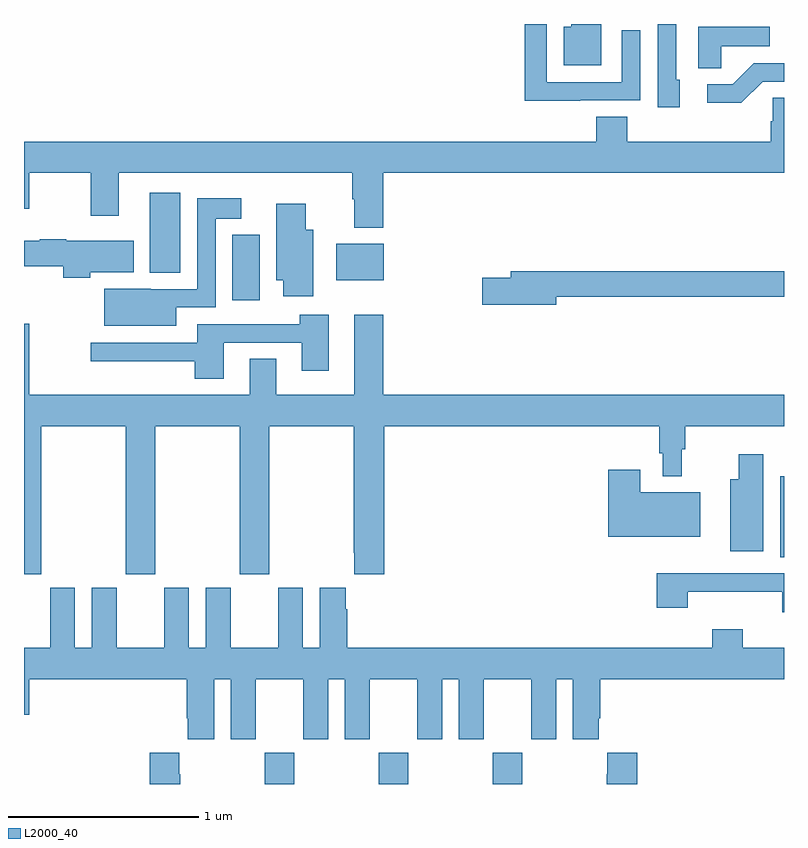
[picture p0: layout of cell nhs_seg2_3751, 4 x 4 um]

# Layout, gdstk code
import gdstk
lib = gdstk.Library(unit=1e-6, precision=1e-09)
def R(c, l, rs):  # rectangles x0, y0, x1, y1
    for r in rs: c.add(gdstk.rectangle(r[:2], r[2:], *l))
def A(c, l, x, y, w, h, nx, ny, dx, dy):  # array of equal rectangles
    R(c, l, [(x+i*dx, y+j*dy, x+i*dx+w, y+j*dy+h) for i in range(nx) for j in range(ny)])
def P(c, l, *ps):  # polygons
    for p in ps: c.add(gdstk.Polygon(p, *l))
L2000_40 = (2000, 40)

nhs_seg2_3751 = lib.new_cell('nhs_seg2_3751')
A(nhs_seg2_3751, L2000_40, 310.267, 597.8, 0.155, 0.164, 3, 1, 0.6, 0)
R(nhs_seg2_3751, L2000_40, [(312.98,598.993,313,599.419), (310.097,600.345,310.24,600.691), (310.643,600.452,310.894,600.643), (309.662,600.491,309.823,600.913)])
P(nhs_seg2_3751, L2000_40, [(312.037,601.8),(311.879,601.8),(311.879,601.786),(311.84,601.786),(311.84,601.583),(312.037,601.583)],
  [(311.927,601.398),(312.243,601.398),(312.243,601.768),(312.147,601.768),(312.147,601.494),(311.751,601.494),(311.751,601.8),(311.635,601.8),(311.635,601.397),(311.927,601.397)],
  [(312.451,601.506),(312.432,601.506),(312.432,601.8),(312.336,601.8),(312.336,601.362),(312.451,601.362)],
  [(312.669,601.682),(312.926,601.682),(312.926,601.786),(312.548,601.786),(312.548,601.567),(312.669,601.567)],
  [(312.888,601.497),(313,601.497),(313,601.593),(312.842,601.593),(312.731,601.482),(312.597,601.482),(312.597,601.385),(312.775,601.385)],
  [(310.892,601.016),(313,601.016),(313,601.412),(312.942,601.412),(312.942,601.289),(312.929,601.289),(312.929,601.18),(312.176,601.18),(312.176,601.313),(312.011,601.313),(312.011,601.18),(309,601.18),(309,600.828),(309.028,600.828),(309.028,601.016),(309.352,601.016),(309.352,600.792),(309.499,600.792),(309.499,601.016),(310.727,601.016),(310.727,600.878),(310.739,600.878),(310.739,600.728),(310.892,600.728)],
  [(309.802,600.309),(310.008,600.309),(310.008,600.776),(310.144,600.776),(310.144,600.883),(309.912,600.883),(309.912,600.405),(309.666,600.405),(309.666,600.406),(309.422,600.406),(309.422,600.212),(309.802,600.212)],
  [(310.522,600.718),(310.483,600.718),(310.483,600.853),(310.328,600.853),(310.328,600.452),(310.364,600.452),(310.364,600.366),(310.522,600.366)],
  [(309.348,600.494),(309.577,600.494),(309.577,600.658),(309.222,600.658),(309.222,600.666),(309.082,600.666),(309.082,600.658),(309,600.658),(309,600.524),(309.206,600.524),(309.206,600.464),(309.348,600.464)],
  [(311.8,600.364),(313,600.364),(313,600.5),(311.561,600.5),(311.561,600.464),(311.412,600.464),(311.412,600.322),(311.8,600.322)],
  [(310.051,600.123),(310.463,600.123),(310.463,599.976),(310.603,599.976),(310.603,600.271),(310.451,600.271),(310.451,600.219),(309.911,600.219),(309.911,600.123),(309.351,600.123),(309.351,600.026),(309.899,600.026),(309.899,599.934),(310.051,599.934)],
  [(309.09,599.684),(309.535,599.684),(309.535,598.905),(309.69,598.905),(309.69,599.684),(310.135,599.684),(310.135,598.905),(310.29,598.905),(310.29,599.684),(310.735,599.684),(310.735,599.017),(310.739,599.017),(310.739,598.905),(310.895,598.905),(310.895,599.684),(312.343,599.684),(312.343,599.542),(312.363,599.542),(312.363,599.421),(312.462,599.421),(312.462,599.561),(312.479,599.561),(312.479,599.684),(313,599.684),(313,599.848),(310.892,599.848),(310.892,600.271),(310.739,600.271),(310.739,599.848),(310.327,599.848),(310.327,600.038),(310.187,600.038),(310.187,599.848),(309.028,599.848),(309.028,600.223),(309,600.223),(309,598.905),(309.09,598.905)],
  [(312.892,599.536),(312.763,599.536),(312.763,599.404),(312.716,599.404),(312.716,599.024),(312.892,599.024)],
  [(312.559,599.335),(312.244,599.335),(312.244,599.455),(312.074,599.455),(312.074,599.102),(312.559,599.102)],
  [(313,598.908),(312.577,598.908),(312.577,598.91),(312.329,598.91),(312.329,598.728),(312.494,598.728),(312.494,598.811),(312.99,598.811),(312.99,598.703),(313,598.703)],
  [(310,598.352),(310.088,598.352),(310.088,598.035),(310.219,598.035),(310.219,598.352),(310.469,598.352),(310.469,598.035),(310.6,598.035),(310.6,598.352),(310.688,598.352),(310.688,598.035),(310.819,598.035),(310.819,598.352),(311.069,598.352),(311.069,598.035),(311.2,598.035),(311.2,598.352),(311.288,598.352),(311.288,598.035),(311.419,598.035),(311.419,598.352),(311.669,598.352),(311.669,598.035),(311.8,598.035),(311.8,598.352),(311.888,598.352),(311.888,598.035),(312.025,598.035),(312.025,598.147),(312.032,598.147),(312.032,598.352),(313,598.352),(313,598.516),(312.783,598.516),(312.783,598.615),(312.623,598.615),(312.623,598.516),(310.7,598.516),(310.7,598.721),(310.693,598.721),(310.693,598.834),(310.556,598.834),(310.556,598.516),(310.468,598.516),(310.468,598.834),(310.337,598.834),(310.337,598.516),(310.087,598.516),(310.087,598.834),(309.956,598.834),(309.956,598.516),(309.868,598.516),(309.868,598.834),(309.737,598.834),(309.737,598.516),(309.487,598.516),(309.487,598.834),(309.356,598.834),(309.356,598.516),(309.268,598.516),(309.268,598.834),(309.137,598.834),(309.137,598.516),(309,598.516),(309,598.164),(309.028,598.164),(309.028,598.352),(309.857,598.352),(309.857,598.147),(309.863,598.147),(309.863,598.035),(310,598.035)],
  [(309.822,597.851),(309.817,597.851),(309.817,597.964),(309.662,597.964),(309.662,597.8),(309.822,597.8)],
  [(312.227,597.964),(312.071,597.964),(312.071,597.851),(312.067,597.851),(312.067,597.8),(312.227,597.8)])

lib.write_gds('nhs_seg2_3751.gds')
